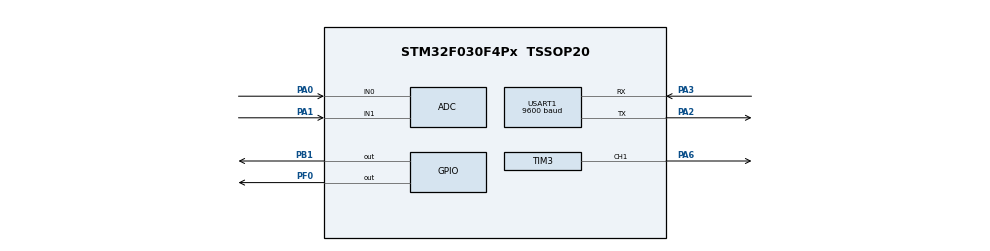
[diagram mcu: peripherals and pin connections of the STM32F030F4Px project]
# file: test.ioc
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ADC.ClockPrescaler=ADC_CLOCK_ASYNC_DIV1
ADC.ContinuousConvMode=DISABLE
ADC.DMAContinuousRequests=ENABLE
ADC.DiscontinuousConvMode=DISABLE
ADC.EOCSelection=ADC_EOC_SINGLE_CONV
ADC.EnableAnalogWatchDog=false
ADC.Overrun=ADC_OVR_DATA_PRESERVED
ADC.SamplingTime=ADC_SAMPLETIME_239CYCLES_5
ADC.ScanConvMode=ADC_SCAN_DIRECTION_FORWARD
Dma.ADC.0.Direction=DMA_PERIPH_TO_MEMORY
Dma.ADC.0.Instance=DMA1_Channel1
Dma.ADC.0.MemDataAlignment=DMA_MDATAALIGN_HALFWORD
Dma.ADC.0.MemInc=DMA_MINC_ENABLE
Dma.ADC.0.Mode=DMA_CIRCULAR
Dma.ADC.0.PeriphDataAlignment=DMA_PDATAALIGN_HALFWORD
Dma.ADC.0.PeriphInc=DMA_PINC_DISABLE
Dma.ADC.0.Priority=DMA_PRIORITY_LOW
Dma.Request0=ADC
Mcu.Family=STM32F0
Mcu.Name=STM32F030F4Px
Mcu.Package=TSSOP20
NVIC.ADC1_IRQn=true\:1\:0\:true\:false\:true\:true\:true
NVIC.DMA1_Channel1_IRQn=true\:0\:0\:false\:false\:true\:false\:true
NVIC.TIM14_IRQn=true\:0\:0\:false\:false\:true\:true\:true
NVIC.USART1_IRQn=true\:0\:0\:true\:false\:true\:true\:true
PA0.Mode=IN0
PA0.Signal=ADC_IN0
PA1.Mode=IN1
PA1.Signal=ADC_IN1
PA2.Mode=Asynchronous
PA2.Signal=USART1_TX
PA3.Mode=Asynchronous
PA3.Signal=USART1_RX
PA6.Signal=S_TIM3_CH1
PB1.GPIO_PuPd=GPIO_PULLUP
PB1.GPIO_Speed=GPIO_SPEED_FREQ_HIGH
PB1.PinState=GPIO_PIN_SET
PB1.Signal=GPIO_Output
PF0-OSC_IN.GPIO_ModeDefaultOutputPP=GPIO_MODE_OUTPUT_OD
PF0-OSC_IN.Signal=GPIO_Output
ProjectManager.HeapSize=0x200
ProjectManager.StackSize=0x400
ProjectManager.TargetToolchain=Makefile
RCC.AHBFreq_Value=32000000
RCC.APB1Freq_Value=32000000
RCC.APB1TimFreq_Value=32000000
RCC.HCLKFreq_Value=32000000
RCC.PLLMUL=RCC_PLL_MUL8
RCC.SYSCLKFreq_VALUE=32000000
RCC.SYSCLKSource=RCC_SYSCLKSOURCE_PLLCLK
SH.S_TIM3_CH1.0=TIM3_CH1,PWM Generation1 CH1
TIM14.AutoReloadPreload=TIM_AUTORELOAD_PRELOAD_ENABLE
TIM14.Period=10000
TIM14.Prescaler=510
TIM3.Channel-PWM\ Generation1\ CH1=TIM_CHANNEL_1
TIM3.OCFastMode_PWM-PWM\ Generation1\ CH1=TIM_OCFAST_ENABLE
TIM3.Period=330
TIM3.Pulse-PWM\ Generation1\ CH1=329
USART1.BaudRate=9600
USART1.VirtualMode-Asynchronous=VM_ASYNC
VP_ADC_Vref_Input.Mode=IN-Vrefint
VP_TIM14_VS_ClockSourceINT.Mode=Enable_Timer
board=custom

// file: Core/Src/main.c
/* USER CODE BEGIN Header */
/**
  ******************************************************************************
  * @file           : main.c
  * @brief          : Main program body
  ******************************************************************************
  * @attention
  *
  * <h2><center>&copy; Copyright (c) 2022 STMicroelectronics.
  * All rights reserved.</center></h2>
  *
  * This software component is licensed by ST under Ultimate Liberty license
  * SLA0044, the "License"; You may not use this file except in compliance with
  * the License. You may obtain a copy of the License at:
  *                             www.st.com/SLA0044
  *
  ******************************************************************************
  */
/* USER CODE END Header */
#include "main.h"
#include "adc.h"
#include "dma.h"
#include "tim.h"
#include "usart.h"
#include "gpio.h"

/* USER CODE BEGIN Includes */
#include "ringbuffer.h"
#include "fix16.h"
#include "fix16pid.h"
#include "moving_average.h"

/* USER CODE END Includes */

/* USER CODE BEGIN PTD */
#define VIN 5000
// #define VREFINT_CAL_ADDR                0x1FFFF7BA  /* datasheet p. 19 */
// #define VREFINT_CAL ((uint16_t*) VREFINT_CAL_ADDR)
/* USER CODE END PTD */

/* USER CODE BEGIN PV */
uint16_t adc[3];
typedef enum{
  NOP,
  INIT=1,
  GET_ADC_1 = 2,
  GET_ADC_2 = 3,
  GET_PWM_C = 4 ,
  GET_CURRENT = 5,
  SET_CURRENT = 6,

  SET_PID_POINT = 7,
  GET_PID_POINT = 8,
  GET_PID_ERROR = 9,
  GET_PID_OUTPUT = 10,
  SET_PID_KP = 11,
  SET_PID_KD = 12,
  SET_PID_KI = 13,
  SET_PID_ENABLED = 14

} commands;

typedef struct
{
  uint8_t cmd;
  int16_t arg;
} __attribute__((packed, aligned(1))) cmd_t;

uint8_t flag = 0;
uint8_t adc_flag = 0;
volatile uint8_t uart_rx_byte;

ring_buffer_t uart_ring_buffer;

/* USER CODE END PV */

void SystemClock_Config(void);

int main(void)
{

  /* MCU Configuration--------------------------------------------------------*/

  /* Reset of all peripherals, Initializes the Flash interface and the Systick. */

  LL_APB1_GRP2_EnableClock(LL_APB1_GRP2_PERIPH_SYSCFG);
  LL_APB1_GRP1_EnableClock(LL_APB1_GRP1_PERIPH_PWR);

  /* System interrupt init*/
  /* SysTick_IRQn interrupt configuration */
  NVIC_SetPriority(SysTick_IRQn, 3);

  /* Configure the system clock */
  SystemClock_Config();

  /* Initialize all configured peripherals */
  MX_DMA_Init();
  MX_GPIO_Init();
  MX_ADC_Init();
  MX_TIM3_Init();
  MX_USART1_UART_Init();
  MX_TIM14_Init();
  /* USER CODE BEGIN 2 */
  // HAL_TIM_PWM_Start(&htim3, TIM_CHANNEL_1);
  LL_TIM_CC_EnableChannel(TIM3, LL_TIM_CHANNEL_CH1);
   LL_TIM_EnableCounter(TIM3);
   LL_TIM_EnableIT_UPDATE(TIM14);
   LL_TIM_EnableCounter(TIM14);
  LL_USART_EnableIT_RXNE(USART1);
  LL_DMA_ConfigAddresses(DMA1,
                         LL_DMA_CHANNEL_1,
                         LL_ADC_DMA_GetRegAddr(ADC1, LL_ADC_DMA_REG_REGULAR_DATA),
                         (uint32_t)&adc,
                         LL_DMA_DIRECTION_PERIPH_TO_MEMORY);
  /* Set DMA transfer size */
  LL_DMA_SetDataLength(DMA1,
                         LL_DMA_CHANNEL_1,
                       3);
  /* Enable DMA transfer interruption: transfer complete */
  LL_DMA_EnableIT_TC(DMA1,
                        LL_DMA_CHANNEL_1);
  /* Enable DMA transfer interruption: half transfer */
  LL_DMA_EnableIT_HT(DMA1,
                        LL_DMA_CHANNEL_1);
  /* Enable DMA transfer interruption: transfer error */
  LL_DMA_EnableIT_TE(DMA1,
                        LL_DMA_CHANNEL_1);
  /*## Activation of DMA #####################################################*/
  /* Enable the DMA transfer */
  LL_DMA_EnableChannel(DMA1,
                       LL_DMA_CHANNEL_1);

  LL_ADC_Enable(ADC1);
  /* USER CODE END 2 */

  /* Infinite loop */
  /* USER CODE BEGIN WHILE */
  cmd_t rx,tx;

  volatile int16_t current = 0;
  uint16_t filtred[2];
  uint16_t output = 0;
  uint16_t V_ref = 0;
  uint16_t loop_back = 0;
  fix16_t control = 0;
  fix16_t temp = 0;
  uint8_t pid_enable_flag = 0;
  PIDController pid = { PID_KP, PID_KI, PID_KD,
                          PID_TAU,
                          PID_LIM_MIN, PID_LIM_MAX,
	                      PID_LIM_MIN_INT, PID_LIM_MAX_INT,
                          SAMPLE_TIME_S };

    PIDController_Init(&pid);
  FilterTypeDef filterStruct0;
  FilterTypeDef filterStruct1;

  Moving_Average_Init(&filterStruct0);
  Moving_Average_Init(&filterStruct1);
  LL_mDelay(100);

  // LL_GPIO_ResetOutputPin(GPIOF, LL_GPIO_PIN_0);
// loop_back = 700;
// pid_enable_flag = 1;

  while (1)
  {
    if(ring_buffer_num_items(&uart_ring_buffer)>=3){
      ring_buffer_dequeue_arr(&uart_ring_buffer,(char *)&rx,3);
      switch (rx.cmd)
      {
      case INIT:
        tx.cmd = INIT;
        tx.arg = 111;
        break;
      case GET_ADC_1:
        tx.cmd = GET_ADC_1;
        tx.arg = filtred[0];
        break;
      case GET_ADC_2:
        tx.cmd = GET_ADC_2;
        tx.arg = filtred[1];
        break;
      case GET_PWM_C:
        tx.cmd = GET_PWM_C;
        tx.arg =(int16_t)fix16_to_int(control);
        break;
      case GET_CURRENT:
        tx.cmd = GET_CURRENT;
        tx.arg = current;
        break;
      case SET_CURRENT:
        tx.cmd = SET_CURRENT;
        tx.arg = current;
        output = (VIN*1-(10*(rx.arg+4)))/2;
        if(rx.arg>1){
        LL_GPIO_ResetOutputPin(GPIOF, LL_GPIO_PIN_0);
        LL_TIM_OC_SetCompareCH1(TIM3,output);
        } else {
          LL_GPIO_SetOutputPin(GPIOF, LL_GPIO_PIN_0);
        }
        break;
      case SET_PID_POINT:
        tx.cmd = SET_PID_POINT;
        loop_back = rx.arg;
        tx.arg = loop_back;
        break;
      case GET_PID_POINT:
        tx.cmd = GET_PID_POINT;
        tx.arg = loop_back;
        break;
      case SET_PID_KD:
        tx.cmd = SET_PID_KD;
        tx.arg = fix16_to_int(pid.Kd);
        temp = fix16_from_int(rx.arg);
        pid.Kd = fix16_div(temp,fix16_from_int(100));
        break;
      case SET_PID_KI:
        tx.cmd = SET_PID_KI;
        tx.arg = fix16_to_int(pid.Ki);
        temp = fix16_from_int(rx.arg);
        pid.Ki = fix16_div(temp,fix16_from_int(100));
        break;
      case SET_PID_KP:
        tx.cmd = SET_PID_KP;
        tx.arg = fix16_to_int(pid.Kp);
        temp = fix16_from_int(rx.arg);
        pid.Kp = fix16_div(temp,fix16_from_int(100));
        break;
      case GET_PID_OUTPUT:
        tx.cmd = GET_PID_OUTPUT;
        tx.arg = fix16_to_int(control);
        break;
      case GET_PID_ERROR:
        tx.cmd = GET_PID_ERROR;
        tx.arg = fix16_to_int(pid.error);
        break;
      case SET_PID_ENABLED:
        tx.cmd = SET_PID_ENABLED;
        tx.arg = pid_enable_flag;
        pid_enable_flag = rx.arg;
        if(pid_enable_flag){
        LL_GPIO_ResetOutputPin(GPIOF, LL_GPIO_PIN_0);
        } else {
          LL_GPIO_SetOutputPin(GPIOF, LL_GPIO_PIN_0);
        }
        break;

      default:
        break;
      }
      USART_TX((uint8_t*)&tx,3);
    };

    if(adc_flag){
      // LL_GPIO_TogglePin(GPIOF, LL_GPIO_PIN_0);
      adc_flag=0;
      //rolling average
      uint16_t VREF_DATA = *VREFINT_CAL_ADDR;
      V_ref = VREFINT_CAL_VREF*VREF_DATA/adc[2];
      adc[0] = 3300*adc[0]/4095;
      adc[1] =  3300*adc[1]/4095;
      filtred[0] = Moving_Average_Compute(adc[0], &filterStruct0);//(3*filtred[0]+adc[0])>>2;
      filtred[1] = Moving_Average_Compute(adc[1], &filterStruct1);//adc[1];(3*filtred[1]+adc[1])>>2;
      if(pid_enable_flag){
      control =  PIDController_Update(&pid, fix16_from_int(loop_back), fix16_from_int(filtred[1]),SAMPLE_TIME_S);
      LL_TIM_OC_SetCompareCH1(TIM3,3299-fix16_to_int((control)));
      }
      current = (VIN-2*filtred[0])/1-40;

    }

    /* USER CODE END WHILE */

  }
}

void SystemClock_Config(void)
{
  LL_FLASH_SetLatency(LL_FLASH_LATENCY_1);
  while(LL_FLASH_GetLatency() != LL_FLASH_LATENCY_1)
  {
  }
  LL_RCC_HSI_Enable();

   /* Wait till HSI is ready */
  while(LL_RCC_HSI_IsReady() != 1)
  {

  }
  LL_RCC_HSI_SetCalibTrimming(16);
  LL_RCC_HSI14_Enable();

   /* Wait till HSI14 is ready */
  while(LL_RCC_HSI14_IsReady() != 1)
  {

  }
  LL_RCC_HSI14_SetCalibTrimming(16);
  LL_RCC_PLL_ConfigDomain_SYS(LL_RCC_PLLSOURCE_HSI_DIV_2, LL_RCC_PLL_MUL_8);
  LL_RCC_PLL_Enable();

   /* Wait till PLL is ready */
  while(LL_RCC_PLL_IsReady() != 1)
  {

  }
  LL_RCC_SetAHBPrescaler(LL_RCC_SYSCLK_DIV_1);
  LL_RCC_SetAPB1Prescaler(LL_RCC_APB1_DIV_1);
  LL_RCC_SetSysClkSource(LL_RCC_SYS_CLKSOURCE_PLL);

   /* Wait till System clock is ready */
  while(LL_RCC_GetSysClkSource() != LL_RCC_SYS_CLKSOURCE_STATUS_PLL)
  {

  }
  LL_Init1msTick(32000000);
  LL_SetSystemCoreClock(32000000);
  LL_RCC_HSI14_EnableADCControl();
  LL_RCC_SetUSARTClockSource(LL_RCC_USART1_CLKSOURCE_PCLK1);
}

/* USER CODE BEGIN 4 */
void USART1_RX_Callback(){
  ring_buffer_queue(&uart_ring_buffer, LL_USART_ReceiveData8(USART1));
  // HAL_UART_Receive_IT(&huart1,&uart_rx_byte,1);

}

void ADC_Callback(){
  adc_flag=1;
}

void TIM14_Callback(){
  LL_ADC_REG_StartConversion(ADC1);
  // LL_GPIO_TogglePin(GPIOB, LL_GPIO_PIN_1);
}

/* USER CODE END 4 */

void Error_Handler(void)
{
  __disable_irq();
  while (1)
  {
  }
}

/************************ (C) COPYRIGHT STMicroelectronics *****END OF FILE****/
